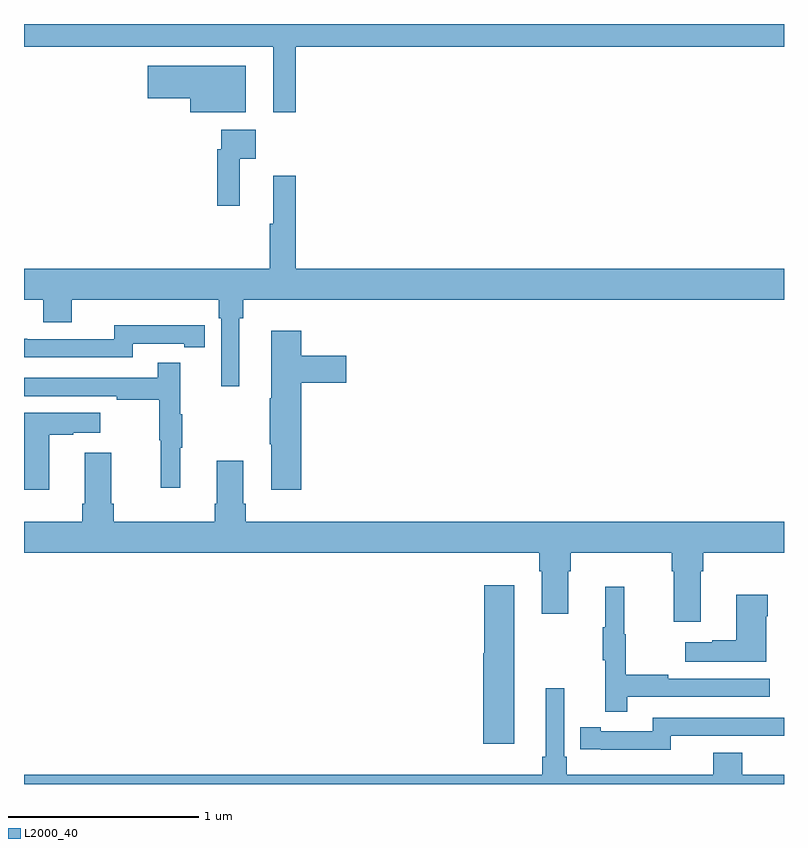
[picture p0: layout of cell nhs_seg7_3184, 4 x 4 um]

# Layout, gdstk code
import gdstk
lib = gdstk.Library(unit=1e-6, precision=1e-09)
def P(c, l, *ps):  # polygons
    for p in ps: c.add(gdstk.Polygon(p, *l))
L2000_40 = (2000, 40)

nhs_seg7_3184 = lib.new_cell('nhs_seg7_3184')
P(nhs_seg7_3184, L2000_40, [(314.429,1069.88),(317,1069.88),(317,1070),(313,1070),(313,1069.88),(314.312,1069.88),(314.312,1069.536),(314.429,1069.536)],
  [(314.167,1069.78),(313.65,1069.78),(313.65,1069.61),(313.874,1069.61),(313.874,1069.535),(314.167,1069.535)],
  [(314.135,1069.292),(314.221,1069.292),(314.221,1069.444),(314.037,1069.444),(314.037,1069.34),(314.017,1069.34),(314.017,1069.044),(314.135,1069.044)],
  [(314.134,1068.452),(314.153,1068.452),(314.153,1068.548),(317,1068.548),(317,1068.712),(314.429,1068.712),(314.429,1069.201),(314.312,1069.201),(314.312,1068.948),(314.293,1068.948),(314.293,1068.712),(313,1068.712),(313,1068.548),(313.1,1068.548),(313.1,1068.431),(313.252,1068.431),(313.252,1068.548),(314.024,1068.548),(314.024,1068.452),(314.037,1068.452),(314.037,1068.093),(314.134,1068.093)],
  [(313.572,1068.318),(313.844,1068.318),(313.844,1068.298),(313.952,1068.298),(313.952,1068.414),(313.844,1068.414),(313.844,1068.415),(313.476,1068.415),(313.476,1068.342),(313.016,1068.342),(313.016,1068.344),(313,1068.344),(313,1068.246),(313.572,1068.246)],
  [(314.459,1068.113),(314.695,1068.113),(314.695,1068.255),(314.459,1068.255),(314.459,1068.385),(314.3,1068.385),(314.3,1068.029),(314.293,1068.029),(314.293,1067.788),(314.3,1067.788),(314.3,1067.55),(314.459,1067.55)],
  [(313.823,1067.771),(313.834,1067.771),(313.834,1067.945),(313.823,1067.945),(313.823,1068.217),(313.705,1068.217),(313.705,1068.138),(313,1068.138),(313,1068.042),(313.489,1068.042),(313.489,1068.022),(313.713,1068.022),(313.713,1067.808),(313.72,1067.808),(313.72,1067.559),(313.823,1067.559)],
  [(313.132,1067.839),(313.259,1067.839),(313.259,1067.849),(313.402,1067.849),(313.402,1067.953),(313,1067.953),(313,1067.55),(313.132,1067.55)],
  [(316.561,1067.12),(316.574,1067.12),(316.574,1067.216),(317,1067.216),(317,1067.38),(314.168,1067.38),(314.168,1067.476),(314.155,1067.476),(314.155,1067.701),(314.015,1067.701),(314.015,1067.476),(314.003,1067.476),(314.003,1067.38),(313.472,1067.38),(313.472,1067.476),(313.459,1067.476),(313.459,1067.743),(313.319,1067.743),(313.319,1067.476),(313.307,1067.476),(313.307,1067.38),(313,1067.38),(313,1067.216),(315.713,1067.216),(315.713,1067.12),(315.725,1067.12),(315.725,1066.896),(315.865,1066.896),(315.865,1067.12),(315.878,1067.12),(315.878,1067.216),(316.409,1067.216),(316.409,1067.12),(316.421,1067.12),(316.421,1066.854),(316.561,1066.854)],
  [(315.58,1067.047),(315.422,1067.047),(315.422,1066.689),(315.416,1066.689),(315.416,1066.212),(315.58,1066.212)],
  [(316.175,1066.458),(316.924,1066.458),(316.924,1066.554),(316.391,1066.554),(316.391,1066.574),(316.168,1066.574),(316.168,1066.788),(316.16,1066.788),(316.16,1067.038),(316.058,1067.038),(316.058,1066.825),(316.047,1066.825),(316.047,1066.651),(316.058,1066.651),(316.058,1066.38),(316.175,1066.38)],
  [(316.906,1066.883),(316.914,1066.883),(316.914,1066.996),(316.748,1066.996),(316.748,1066.757),(316.622,1066.757),(316.622,1066.747),(316.479,1066.747),(316.479,1066.643),(316.906,1066.643)],
  [(317,1066.048),(316.781,1066.048),(316.781,1066.165),(316.628,1066.165),(316.628,1066.048),(315.857,1066.048),(315.857,1066.144),(315.843,1066.144),(315.843,1066.504),(315.746,1066.504),(315.746,1066.144),(315.727,1066.144),(315.727,1066.048),(313,1066.048),(313,1066),(317,1066)],
  [(316.404,1066.254),(316.864,1066.254),(316.864,1066.253),(317,1066.253),(317,1066.35),(316.308,1066.35),(316.308,1066.278),(316.036,1066.278),(316.036,1066.298),(315.928,1066.298),(315.928,1066.182),(316.036,1066.182),(316.036,1066.181),(316.404,1066.181)])

lib.write_gds('nhs_seg7_3184.gds')
